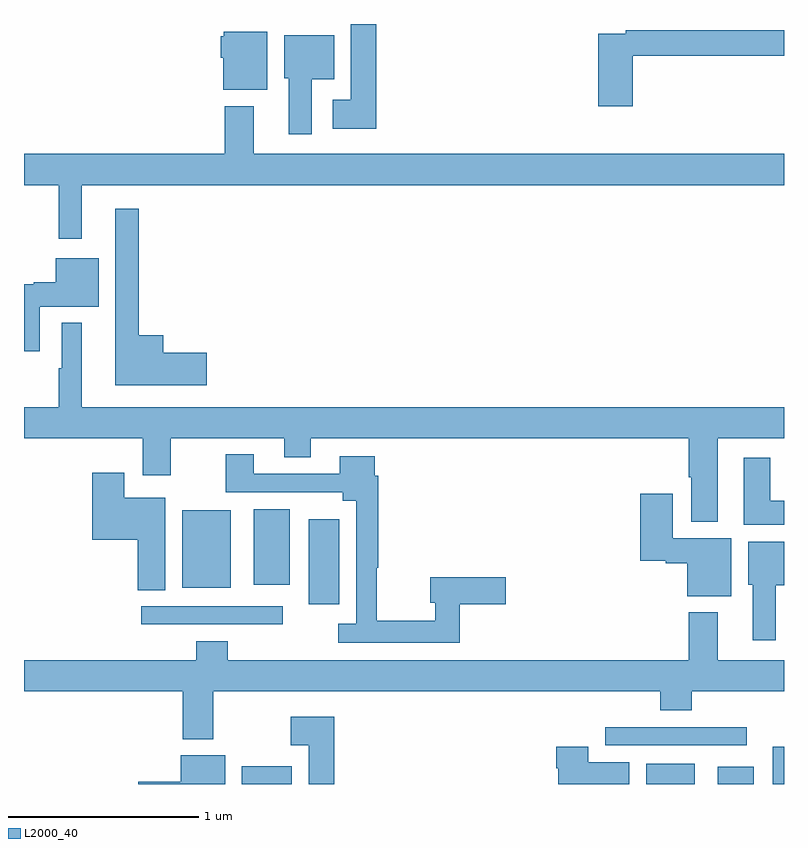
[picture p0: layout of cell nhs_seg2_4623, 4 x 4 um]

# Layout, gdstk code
import gdstk
lib = gdstk.Library(unit=1e-6, precision=1e-09)
def R(c, l, rs):  # rectangles x0, y0, x1, y1
    for r in rs: c.add(gdstk.rectangle(r[:2], r[2:], *l))
def P(c, l, *ps):  # polygons
    for p in ps: c.add(gdstk.Polygon(p, *l))
L2000_40 = (2000, 40)

nhs_seg2_4623 = lib.new_cell('nhs_seg2_4623')
R(nhs_seg2_4623, L2000_40, [(362.147,661.8,362.41,661.894), (364.274,661.8,364.531,661.906), (364.652,661.8,364.84,661.891), (364.94,661.8,365,661.996), (364.059,662.004,364.804,662.1), (361.617,662.64,362.362,662.736), (362.498,662.745,362.659,663.193), (361.832,662.834,362.089,663.241), (362.21,662.849,362.398,663.247)])
P(nhs_seg2_4623, L2000_40, [(362.855,665.8),(362.72,665.8),(362.72,665.401),(362.625,665.401),(362.625,665.249),(362.855,665.249)],
  [(364.205,665.632),(365,665.632),(365,665.768),(364.168,665.768),(364.168,665.748),(364.022,665.748),(364.022,665.367),(364.205,665.367)],
  [(362.281,665.758),(362.052,665.758),(362.052,665.736),(362.036,665.736),(362.036,665.622),(362.048,665.622),(362.048,665.453),(362.281,665.453)],
  [(362.515,665.51),(362.632,665.51),(362.632,665.74),(362.369,665.74),(362.369,665.514),(362.393,665.514),(362.393,665.22),(362.515,665.22)],
  [(361.303,664.952),(365,664.952),(365,665.116),(362.209,665.116),(362.209,665.368),(362.057,665.368),(362.057,665.116),(361,665.116),(361,664.952),(361.182,664.952),(361.182,664.671),(361.303,664.671)],
  [(361.963,664.07),(361.732,664.07),(361.732,664.162),(361.603,664.162),(361.603,664.828),(361.481,664.828),(361.481,663.899),(361.963,663.899)],
  [(361.084,664.313),(361.393,664.313),(361.393,664.567),(361.166,664.567),(361.166,664.442),(361.05,664.442),(361.05,664.429),(361,664.429),(361,664.077),(361.084,664.077)],
  [(364.651,663.62),(365,663.62),(365,663.784),(361.303,663.784),(361.303,664.228),(361.199,664.228),(361.199,663.989),(361.182,663.989),(361.182,663.784),(361,663.784),(361,663.62),(361.625,663.62),(361.625,663.426),(361.773,663.426),(361.773,663.62),(362.369,663.62),(362.369,663.521),(362.509,663.521),(362.509,663.62),(364.499,663.62),(364.499,663.415),(364.511,663.415),(364.511,663.179),(364.651,663.179)],
  [(363.293,662.746),(363.535,662.746),(363.535,662.888),(363.139,662.888),(363.139,662.753),(363.165,662.753),(363.165,662.66),(362.857,662.66),(362.857,662.937),(362.864,662.937),(362.864,663.422),(362.845,663.422),(362.845,663.526),(362.663,663.526),(362.663,663.432),(362.209,663.432),(362.209,663.535),(362.062,663.535),(362.062,663.336),(362.678,663.336),(362.678,663.29),(362.748,663.29),(362.748,662.644),(362.655,662.644),(362.655,662.544),(363.293,662.544)],
  [(365,663.292),(364.927,663.292),(364.927,663.517),(364.787,663.517),(364.787,663.164),(365,663.164)],
  [(361.744,663.307),(361.528,663.307),(361.528,663.439),(361.358,663.439),(361.358,663.086),(361.598,663.086),(361.598,662.821),(361.744,662.821)],
  [(364.723,663.094),(364.414,663.094),(364.414,663.328),(364.244,663.328),(364.244,662.975),(364.377,662.975),(364.377,662.963),(364.49,662.963),(364.49,662.789),(364.723,662.789)],
  [(364.957,662.846),(365,662.846),(365,663.076),(364.811,663.076),(364.811,662.85),(364.835,662.85),(364.835,662.556),(364.957,662.556)],
  [(361.995,662.288),(364.349,662.288),(364.349,662.189),(364.514,662.189),(364.514,662.288),(365,662.288),(365,662.452),(364.651,662.452),(364.651,662.704),(364.499,662.704),(364.499,662.452),(362.072,662.452),(362.072,662.551),(361.907,662.551),(361.907,662.452),(361,662.452),(361,662.288),(361.835,662.288),(361.835,662.036),(361.995,662.036)],
  [(362.633,662.155),(362.403,662.155),(362.403,662.003),(362.498,662.003),(362.498,661.8),(362.633,661.8)],
  [(364.186,661.915),(363.97,661.915),(363.97,661.996),(363.8,661.996),(363.8,661.883),(363.812,661.883),(363.812,661.8),(364.186,661.8)],
  [(362.059,661.951),(361.826,661.951),(361.826,661.812),(361.602,661.812),(361.602,661.8),(362.059,661.8)])

lib.write_gds('nhs_seg2_4623.gds')
